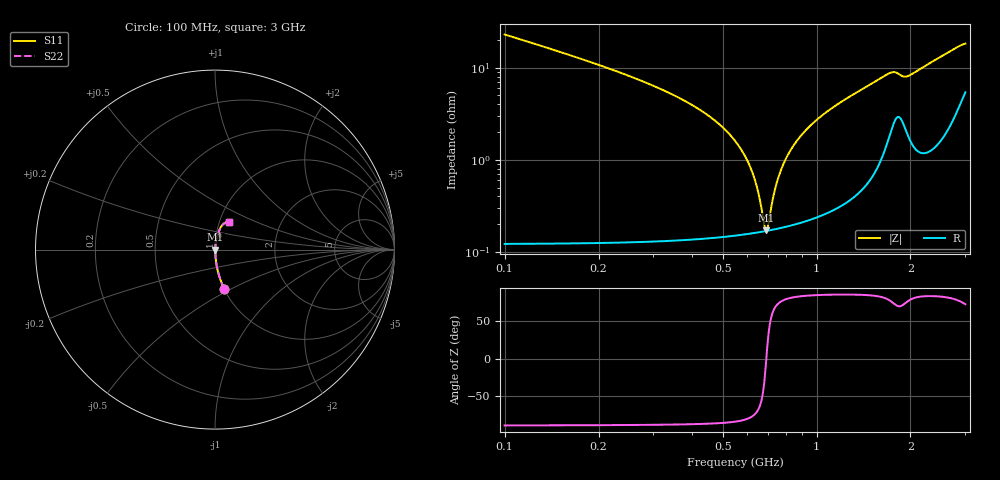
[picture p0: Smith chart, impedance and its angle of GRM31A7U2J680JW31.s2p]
!Murata Part Number: GRM31A7U2J680JW31
!These Parameters are Measured in Series Mode Connection
!Data Generated on Mar 30, 2021
!  o--ll--o
!Port1  Port2
!  o------o
!Operation Temp=25[degC], DC Bias Voltage=0[V]
!Freq. Start=100[MHz] Stop=3[GHz] 401[Steps]
# Hz S RI R 50
!Freq.(Hz) S11(Real) S11(Imag) S21(Real) S21(Imag) S12(Real) S12(Imag) S22(Real) S22(Imag)
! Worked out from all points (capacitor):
!   401 points, 100 MHz to 3 GHz, reference 50 ohm
!   read as one part in series: C = 67.9 pF near 114.5 MHz
!   lowest |Z| = 171 mohm at 687.2 MHz (marker M1)
!   series resonance near 690.3 MHz, so ESL is about 780 pH
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1e8  0.051 -0.2173  0.949 0.2173  0.949 0.2173  0.051 -0.2173
2.16e8  0.0107 -0.0968  0.9893 0.0968  0.9893 0.0968  0.0107 -0.0968
4.8425e8  0.00205 -0.0247  0.998 0.0247  0.998 0.0247  0.00205 -0.0247
5.4225e8  0.00177 -0.0167  0.9982 0.0167  0.9982 0.0167  0.00177 -0.0167
5.8575e8  0.00167 -0.0113  0.9983 0.0113  0.9983 0.0113  0.00167 -0.0113
6.365e8  0.00164 -0.00558  0.9984 0.00558  0.9984 0.00558  0.00164 -0.00558
6.7275e8  0.00166 -0.00177  0.9983 0.00177  0.9983 0.00177  0.00166 -0.00177
6.8725e8  0.00168 -0.0003  0.9983 0.0003  0.9983 0.0003  0.00168 -0.0003
7.0175e8  0.00171 0.00114  0.9983 -0.00114  0.9983 -0.00114  0.00171 0.00114
7.3075e8  0.00177 0.00395  0.9982 -0.00395  0.9982 -0.00395  0.00177 0.00395
7.525e8  0.00182 0.00599  0.9982 -0.00599  0.9982 -0.00599  0.00182 0.00599
7.815e8  0.00192 0.00864  0.9981 -0.00864  0.9981 -0.00864  0.00192 0.00864
8.1775e8  0.00205 0.0119  0.9979 -0.0119  0.9979 -0.0119  0.00205 0.0119
9.1925e8  0.00255 0.0204  0.9974 -0.0204  0.9974 -0.0204  0.00255 0.0204
1.0715e9  0.00364 0.0323  0.9964 -0.0323  0.9964 -0.0323  0.00364 0.0323
1.26725e9  0.00578 0.0472  0.9942 -0.0472  0.9942 -0.0472  0.00578 0.0472
1.55e9  0.0125 0.0697  0.9875 -0.0697  0.9875 -0.0697  0.0125 0.0697
1.7385e9  0.0277 0.082  0.9723 -0.082  0.9723 -0.082  0.0277 0.082
1.9125e9  0.0279 0.0727  0.9721 -0.0727  0.9721 -0.0727  0.0279 0.0727
2.03575e9  0.021 0.0823  0.979 -0.0823  0.979 -0.0823  0.021 0.0823
2.5215e9  0.0329 0.1261  0.9671 -0.1261  0.9671 -0.1261  0.0329 0.1261
3e9  0.0765 0.1525  0.9235 -0.1525  0.9235 -0.1525  0.0765 0.1525
